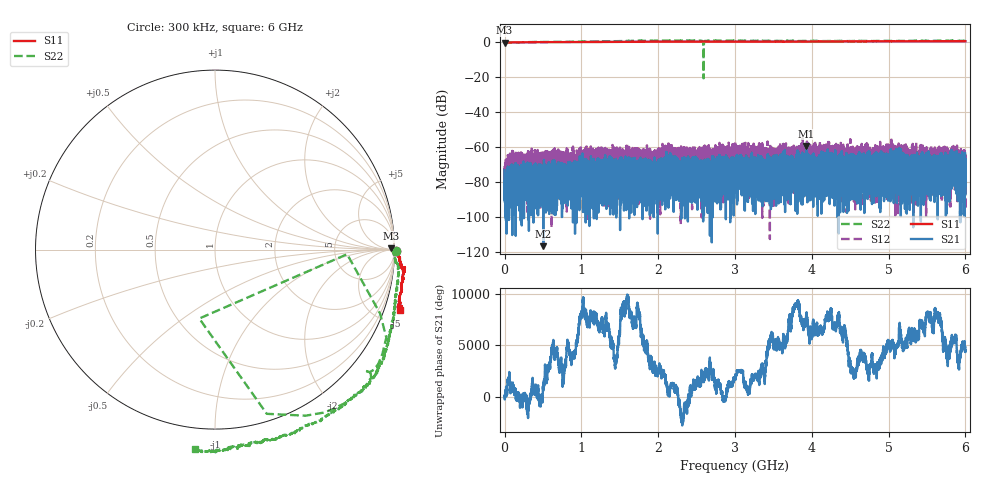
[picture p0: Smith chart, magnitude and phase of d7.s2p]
!Agilent Technologies,N5230C,SG49000117,A.08.50.07
!Agilent N5230C: A.08.50.07
!Date: Thursday, May 16, 2024 21:20:57
!Correction: S11(Full 2 Port(1,2))
!S21(Full 2 Port(1,2))
!S12(Full 2 Port(1,2))
!S22(Full 2 Port(1,2))
!S2P File: Measurements: S11, S21, S12, S22:
# Hz S  MA  R 50
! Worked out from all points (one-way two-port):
!   20001 points, 300 kHz to 6 GHz, reference 50 ohm
!   highest |S21| = -59.32 dB at 3.93 GHz (marker M1); lowest = -116.7 dB at 504 MHz (marker M2)
!   lowest |S11| = -0.2 dB at 600 kHz (marker M3), VSWR 115.43, Z = 4.89e+03 + j2.08e+03 ohm
!   |S11| at or under -10 dB: nowhere
!   |S22| runs from -20.5 to 1.2 dB; largest |S21 - S12| = 0.0018
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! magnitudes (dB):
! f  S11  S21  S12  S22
! 300 kHz  0.1  -73.1  -70.8  0.1
! 600 kHz  -0.2  -81.0  -86.0  -0.3
! 32.1 MHz  0.0  -87.0  -79.0  0.0
! 87.6 MHz  0.0  -79.9  -72.8  0.0
! 504 MHz  0.2  -116.7  -74.3  0.3
! 932.4 MHz  0.2  -74.2  -65.0  0.4
! 1 GHz  0.3  -74.4  -68.4  0.5
! 2 GHz  0.5  -70.3  -67.7  1.0
! 2.141 GHz  0.5  -70.1  -62.6  1.0
! 2.284 GHz  0.5  -75.3  -66.6  1.1
! 2.908 GHz  0.5  -75.3  -77.7  1.0
! 3 GHz  0.5  -70.9  -71.5  1.0
! 3.068 GHz  0.5  -70.2  -70.0  1.0
! 3.178 GHz  0.5  -71.1  -72.3  1.0
! 3.398 GHz  0.5  -90.9  -74.4  1.0
! 3.93 GHz  0.5  -59.3  -63.3  0.9
! 4 GHz  0.5  -71.8  -82.9  0.9
! 4.207 GHz  0.6  -65.4  -65.4  0.8
! 4.454 GHz  0.7  -74.1  -69.7  0.8
! 5 GHz  0.7  -71.1  -59.6  0.9
! 5.965 GHz  0.7  -76.0  -65.9  1.0
! 6 GHz  0.7  -71.3  -77.6  1.0
